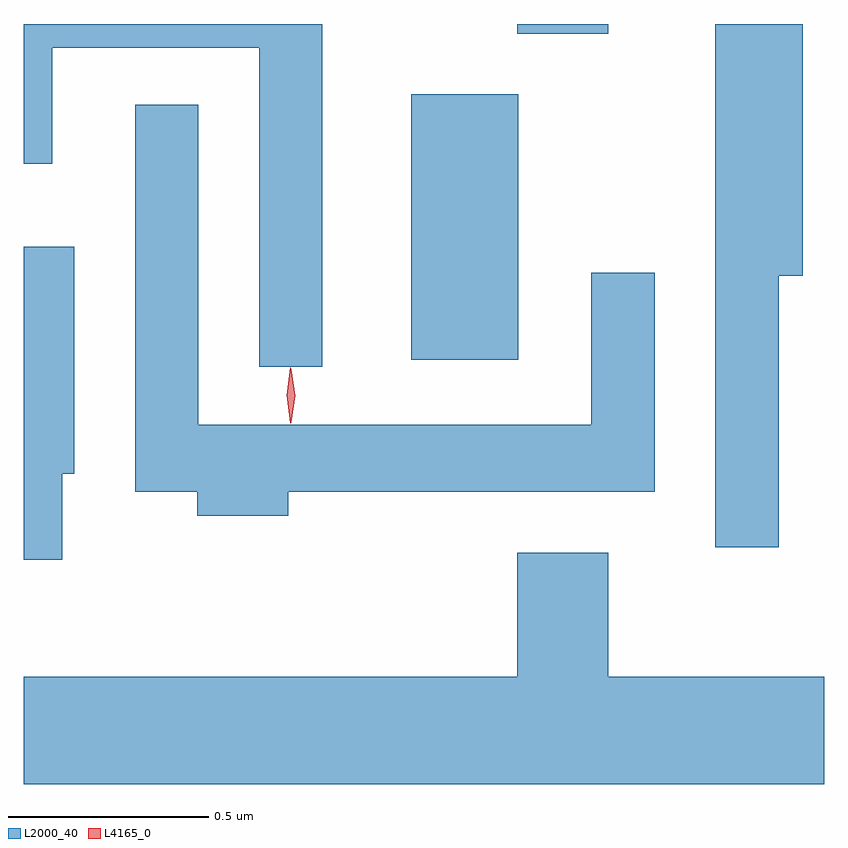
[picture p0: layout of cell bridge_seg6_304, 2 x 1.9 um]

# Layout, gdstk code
import gdstk
lib = gdstk.Library(unit=1e-6, precision=1e-09)
def R(c, l, rs):  # rectangles x0, y0, x1, y1
    for r in rs: c.add(gdstk.rectangle(r[:2], r[2:], *l))
def P(c, l, *ps):  # polygons
    for p in ps: c.add(gdstk.Polygon(p, *l))
L2000_40 = (2000, 40)
L4165_0 = (4165, 0)

bridge_seg6_304 = lib.new_cell('bridge_seg6_304')
R(bridge_seg6_304, L2000_40, [(1257.546,1557.756,1257.814,1558.419), (1257.811,1558.571,1258.039,1558.595)])
P(bridge_seg6_304, L2000_40, [(1258.464,1557.966),(1258.524,1557.966),(1258.524,1558.595),(1258.306,1558.595),(1258.306,1557.288),(1258.464,1557.288)],
  [(1257.324,1558.595),(1256.578,1558.595),(1256.578,1558.246),(1256.649,1558.246),(1256.649,1558.536),(1257.166,1558.536),(1257.166,1557.738),(1257.324,1557.738)],
  [(1257.239,1557.426),(1258.154,1557.426),(1258.154,1557.973),(1257.996,1557.973),(1257.996,1557.594),(1257.014,1557.594),(1257.014,1558.393),(1256.856,1558.393),(1256.856,1557.426),(1257.011,1557.426),(1257.011,1557.366),(1257.239,1557.366)],
  [(1256.674,1557.471),(1256.704,1557.471),(1256.704,1558.039),(1256.578,1558.039),(1256.578,1557.256),(1256.674,1557.256)],
  [(1258.578,1556.964),(1258.039,1556.964),(1258.039,1557.274),(1257.811,1557.274),(1257.811,1556.964),(1256.578,1556.964),(1256.578,1556.696),(1258.578,1556.696)])
P(bridge_seg6_304, L4165_0, [(1257.245,1557.597),(1257.244,1557.598),(1257.235,1557.667),(1257.244,1557.736),(1257.245,1557.736),(1257.245,1557.736),(1257.255,1557.667),(1257.245,1557.598)],
  [(1257.246,1557.599),(1257.245,1557.6),(1257.236,1557.666),(1257.245,1557.732),(1257.246,1557.733),(1257.246,1557.732),(1257.256,1557.666),(1257.246,1557.6)])

lib.write_gds('bridge_seg6_304.gds')
